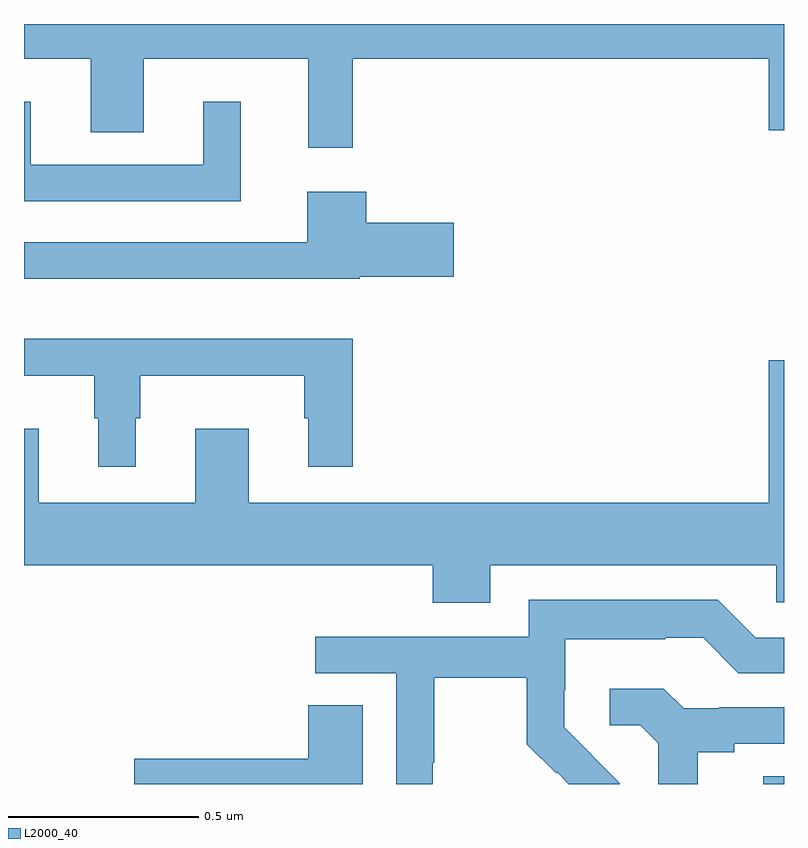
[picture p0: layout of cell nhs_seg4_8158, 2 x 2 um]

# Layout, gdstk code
import gdstk
lib = gdstk.Library(unit=1e-6, precision=1e-09)
def R(c, l, rs):  # rectangles x0, y0, x1, y1
    for r in rs: c.add(gdstk.rectangle(r[:2], r[2:], *l))
def P(c, l, *ps):  # polygons
    for p in ps: c.add(gdstk.Polygon(p, *l))
L2000_40 = (2000, 40)

nhs_seg4_8158 = lib.new_cell('nhs_seg4_8158')
R(nhs_seg4_8158, L2000_40, [(212.945,806.9,213,806.921)])
P(nhs_seg4_8158, L2000_40, [(211,808.808),(211.175,808.808),(211.175,808.615),(211.315,808.615),(211.315,808.808),(211.748,808.808),(211.748,808.575),(211.865,808.575),(211.865,808.808),(212.96,808.808),(212.96,808.62),(213,808.62),(213,808.9),(211,808.9)],
  [(211.571,808.696),(211.472,808.696),(211.472,808.53),(211.018,808.53),(211.018,808.696),(211,808.696),(211,808.434),(211.571,808.434)],
  [(211.884,808.235),(212.131,808.235),(212.131,808.377),(211.901,808.377),(211.901,808.459),(211.745,808.459),(211.745,808.326),(211,808.326),(211,808.229),(211.884,808.229)],
  [(211.294,807.863),(211.306,807.863),(211.306,807.974),(211.737,807.974),(211.737,807.863),(211.748,807.863),(211.748,807.735),(211.865,807.735),(211.865,808.072),(211,808.072),(211,807.974),(211.185,807.974),(211.185,807.863),(211.196,807.863),(211.196,807.735),(211.294,807.735)],
  [(212.227,807.476),(212.979,807.476),(212.979,807.378),(213,807.378),(213,808.015),(212.96,808.015),(212.96,807.64),(211.591,807.64),(211.591,807.835),(211.451,807.835),(211.451,807.64),(211.039,807.64),(211.039,807.835),(211,807.835),(211,807.476),(212.075,807.476),(212.075,807.377),(212.227,807.377)],
  [(212.076,806.956),(212.079,806.956),(212.079,807.18),(212.323,807.18),(212.323,807.005),(212.4,806.928),(212.403,806.931),(212.434,806.9),(212.568,806.9),(212.568,806.902),(212.495,806.975),(212.496,806.976),(212.422,807.05),(212.422,807.147),(212.424,807.147),(212.424,807.281),(212.687,807.281),(212.687,807.285),(212.787,807.285),(212.88,807.192),(213,807.192),(213,807.285),(212.925,807.285),(212.825,807.385),(212.328,807.385),(212.328,807.288),(211.767,807.288),(211.767,807.192),(211.98,807.192),(211.98,806.9),(212.076,806.9)],
  [(212.773,806.984),(212.869,806.984),(212.869,807.006),(213,807.006),(213,807.102),(212.83,807.102),(212.83,807.099),(212.736,807.099),(212.684,807.151),(212.541,807.151),(212.541,807.054),(212.622,807.054),(212.669,807.007),(212.669,806.9),(212.773,806.9)],
  [(211.891,807.107),(211.748,807.107),(211.748,806.966),(211.29,806.966),(211.29,806.9),(211.891,806.9)])

lib.write_gds('nhs_seg4_8158.gds')
